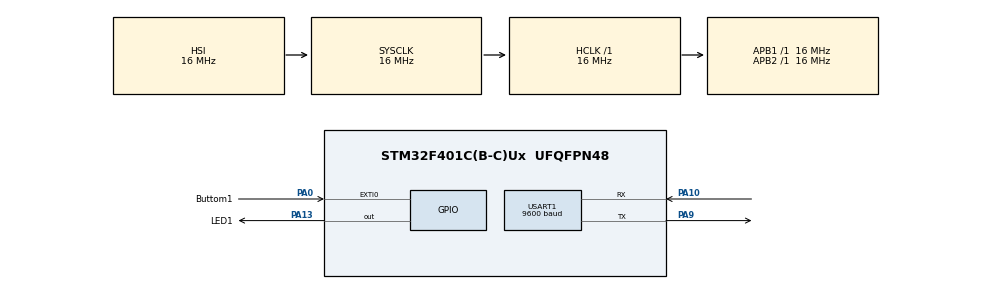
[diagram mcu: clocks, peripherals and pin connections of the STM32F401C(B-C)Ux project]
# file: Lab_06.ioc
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Mcu.Family=STM32F4
Mcu.Name=STM32F401C(B-C)Ux
Mcu.Package=UFQFPN48
NVIC.EXTI0_IRQn=true\:0\:0\:false\:true\:true\:2\:true\:true\:true
NVIC.PriorityGroup=NVIC_PRIORITYGROUP_4
NVIC.USART1_IRQn=true\:0\:0\:false\:true\:true\:1\:true\:true\:true
PA0-WKUP.GPIO_Label=Buttom1
PA0-WKUP.GPIO_ModeDefaultEXTI=GPIO_MODE_IT_FALLING
PA0-WKUP.Signal=GPXTI0
PA10.Mode=Asynchronous
PA10.Signal=USART1_RX
PA13.GPIO_Label=LED1
PA13.Signal=GPIO_Output
PA9.Mode=Asynchronous
PA9.Signal=USART1_TX
ProjectManager.HeapSize=0x200
ProjectManager.StackSize=0x400
ProjectManager.TargetToolchain=STM32CubeIDE
RCC.AHBFreq_Value=16000000
RCC.APB1Freq_Value=16000000
RCC.APB2Freq_Value=16000000
RCC.CortexFreq_Value=16000000
RCC.HSE_VALUE=25000000
RCC.HSI_VALUE=16000000
RCC.LSE_VALUE=32768
RCC.SYSCLKFreq_VALUE=16000000
RCC.VCOOutputFreq_Value=192000000
USART1.BaudRate=9600
USART1.VirtualMode=VM_ASYNC
board=custom

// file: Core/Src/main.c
/* USER CODE BEGIN Header */
/**
  ******************************************************************************
  * @file           : main.c
  * @brief          : Main program body
  ******************************************************************************
  * @attention
  *
  * Copyright (c) 2022 STMicroelectronics.
  * All rights reserved.
  *
  * This software is licensed under terms that can be found in the LICENSE file
  * in the root directory of this software component.
  * If no LICENSE file comes with this software, it is provided AS-IS.
  *
  ******************************************************************************
  */
/* USER CODE END Header */
#include "main.h"
#include "usart.h"
#include "gpio.h"

/* USER CODE BEGIN Includes */
#include <stdio.h>
#include <stdlib.h>
#include <string.h>
/* USER CODE END Includes */

void SystemClock_Config(void);
static void MX_NVIC_Init(void);
/* USER CODE BEGIN PFP */
int a = 0;
char b[20];
/* USER CODE END PFP */

int main(void)
{

  /* MCU Configuration--------------------------------------------------------*/

  /* Reset of all peripherals, Initializes the Flash interface and the Systick. */
  HAL_Init();

  /* Configure the system clock */
  SystemClock_Config();

  /* Initialize all configured peripherals */
  MX_GPIO_Init();
  MX_USART1_UART_Init();

  /* Initialize interrupts */
  MX_NVIC_Init();
  /* USER CODE BEGIN 2 */
  while (a >= 0)
   {
 	 itoa(a, b, 10);
 	 HAL_UART_Transmit(&huart1, (uint8_t*)"\n\r", sizeof("\n\r"), 1000);
 	 HAL_UART_Transmit_IT(&huart1, (uint8_t*)&b, sizeof("$a$"));
 	 a++;
 	 HAL_Delay(5);

   }
  /* USER CODE END 2 */

  /* Infinite loop */
  while (1)
  {

  }
}

void SystemClock_Config(void)
{
  RCC_OscInitTypeDef RCC_OscInitStruct = {0};
  RCC_ClkInitTypeDef RCC_ClkInitStruct = {0};

  /** Configure the main internal regulator output voltage
  */
  __HAL_RCC_PWR_CLK_ENABLE();
  __HAL_PWR_VOLTAGESCALING_CONFIG(PWR_REGULATOR_VOLTAGE_SCALE2);

  /** Initializes the RCC Oscillators according to the specified parameters
  * in the RCC_OscInitTypeDef structure.
  */
  RCC_OscInitStruct.OscillatorType = RCC_OSCILLATORTYPE_HSI;
  RCC_OscInitStruct.HSIState = RCC_HSI_ON;
  RCC_OscInitStruct.HSICalibrationValue = RCC_HSICALIBRATION_DEFAULT;
  RCC_OscInitStruct.PLL.PLLState = RCC_PLL_NONE;
  if (HAL_RCC_OscConfig(&RCC_OscInitStruct) != HAL_OK)
  {
    Error_Handler();
  }

  /** Initializes the CPU, AHB and APB buses clocks
  */
  RCC_ClkInitStruct.ClockType = RCC_CLOCKTYPE_HCLK|RCC_CLOCKTYPE_SYSCLK
                              |RCC_CLOCKTYPE_PCLK1|RCC_CLOCKTYPE_PCLK2;
  RCC_ClkInitStruct.SYSCLKSource = RCC_SYSCLKSOURCE_HSI;
  RCC_ClkInitStruct.AHBCLKDivider = RCC_SYSCLK_DIV1;
  RCC_ClkInitStruct.APB1CLKDivider = RCC_HCLK_DIV1;
  RCC_ClkInitStruct.APB2CLKDivider = RCC_HCLK_DIV1;

  if (HAL_RCC_ClockConfig(&RCC_ClkInitStruct, FLASH_LATENCY_0) != HAL_OK)
  {
    Error_Handler();
  }
}

/**
  * @brief NVIC Configuration.
  * @retval None
  */
static void MX_NVIC_Init(void)
{
  /* USART1_IRQn interrupt configuration */
  HAL_NVIC_SetPriority(USART1_IRQn, 0, 0);
  HAL_NVIC_EnableIRQ(USART1_IRQn);
  /* EXTI0_IRQn interrupt configuration */
  HAL_NVIC_SetPriority(EXTI0_IRQn, 0, 0);
  HAL_NVIC_EnableIRQ(EXTI0_IRQn);
}

/* USER CODE BEGIN 4 */

void HAL_UART_TxCpltCallback(UART_HandleTypeDef *huart)
{
	if(huart == &huart1)
	{
	HAL_GPIO_TogglePin(LED1_GPIO_Port, LED1_Pin);
	itoa(a, b, 10);
	HAL_UART_Transmit(&huart1, (uint8_t*)"\n\r", sizeof("\n\r"), 100);
	HAL_UART_Transmit_IT(&huart1, (uint8_t*)&b, sizeof("$a$"));

	}
}
void HAL_GPIO_EXTI_Callback(uint16_t GPIO_Pin)
{
    if (GPIO_Pin == Buttom1_Pin)
    {
        a = 0;
    }
}
/* USER CODE END 4 */

void Error_Handler(void)
{
  __disable_irq();
  while (1)
  {
  }
}
